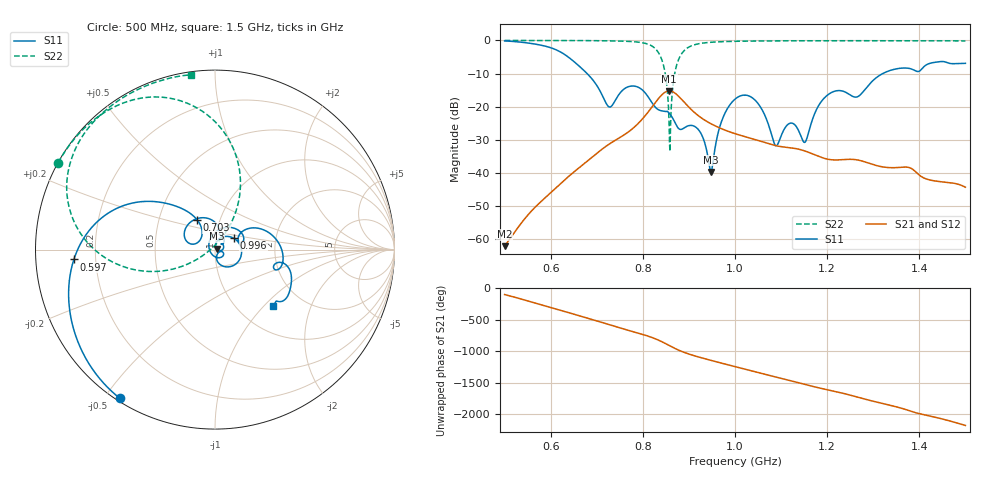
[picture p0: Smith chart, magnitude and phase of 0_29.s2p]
! TOUCHSTONE file generated by CST MICROWAVE STUDIO
! Date and time: Mon Sep 28 14:12:44 2020
! Project name: Scenario_1_Free_SPace.cst
! Parameters = {dx1=658.2; L_HA=400; MT=2.54; Rad_Dielectric=30; Rad_Lower=7.3; Rad_Upper=30; a_HA=580; a_WG=246; b_HA=500; b_WG=121; c_HA=0; c_WG=187; d_feed=85; h_feed=15; h_lower=18; h_upper=40}
! Header version: 2018
! Port assignment regex: !\s*Touchstone port\s*([0-9]+)\s*=\s*(CST MWS port|CST DS port)\s*([0-9]+|Zmin|Zmax)\s*\(\"(.*)\"\)(\s*mode\s*([0-9]+))?.*
! Touchstone port assignment:
! Touchstone port 1 = CST MWS port 1 ("")
! Touchstone port 2 = CST MWS port 2 ("")
# GHz S DB R 50
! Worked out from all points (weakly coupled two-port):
!   1003 points, 500 MHz to 1.5 GHz, reference 50 ohm
!   highest |S21| = -15.24 dB at 857 MHz (marker M1); lowest = -62.1 dB at 500 MHz (marker M2)
!   lowest |S11| = -39.7 dB at 948 MHz (marker M3), VSWR 1.02, Z = 50.9 + j0.596 ohm
!   |S11| at or under -10 dB: 679 MHz to 1.321 GHz (641.6 MHz wide, 64.2 % of centre)
!   |S22| runs from -33.5 to 0.0 dB; largest |S21 - S12| = 0.00094
!   S11 on the Smith chart (normalised r, x): 500 MHz: 0.01, -0.55; 597 MHz: 0.12, -0.03; 703 MHz: 0.78, +0.27; 996 MHz: 1.22, +0.16; 1.5 GHz: 1.43, -1.13
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0.5  -0.15 -122.7  -62.10 -96.3  -62.17 -96.3  -0.01 151.1
0.597  -2.07 -176.0  -46.34 63.1  -46.35 63.1  -0.02 144.3
0.667  -8.40 137.0  -37.83 -84.3  -37.83 -84.3  -0.04 138.3
0.703  -14.24 121.0  -33.75 -161.8  -33.76 -161.8  -0.08 134.4
0.728  -20.11 146.4  -31.20 141.9  -31.19 141.9  -0.13 131.1
0.785  -13.88 124.1  -25.72 20.7  -25.73 20.7  -0.44 118.7
0.834  -20.93 74.8  -17.54 -102.8  -17.52 -102.9  -3.71 85.4
0.848  -21.43 66.1  -15.66 -152.4  -15.65 -152.4  -9.55 65.6
0.857  -21.95 52.1  -15.24 172.9  -15.23 173.0  -25.13 64.7
0.883  -26.86 42.2  -17.64 81.6  -17.64 81.6  -4.27 -175.6
0.921  -26.99 3.7  -22.78 -10.9  -22.73 -11.2  -1.00 158.0
0.948  -39.69 34.4  -25.16 -65.0  -25.15 -64.9  -0.55 149.5
0.996  -18.25 30.9  -27.95 -156.6  -27.96 -156.6  -0.27 140.8
1  -17.72 24.1  -28.14 -164.1  -28.14 -164.1  -0.26 140.2
1.046  -18.37 -53.1  -30.03 109.1  -30.03 109.1  -0.17 134.8
1.089  -31.82 -45.5  -31.78 30.3  -31.79 30.2  -0.13 130.6
1.121  -24.95 -37.0  -32.40 -27.6  -32.40 -27.6  -0.11 127.8
1.152  -30.70 -162.6  -33.39 -87.8  -33.39 -87.8  -0.10 125.3
1.167  -24.31 118.3  -34.17 -116.0  -34.17 -116.0  -0.10 124.1
1.205  -16.07 50.3  -35.95 -179.6  -35.95 -179.6  -0.09 121.2
1.334  -9.19 9.0  -38.39 -55.1  -38.39 -55.0  -0.09 111.4
1.5  -6.91 -44.2  -44.30 -21.1  -44.30 -21.1  -0.14 97.8
